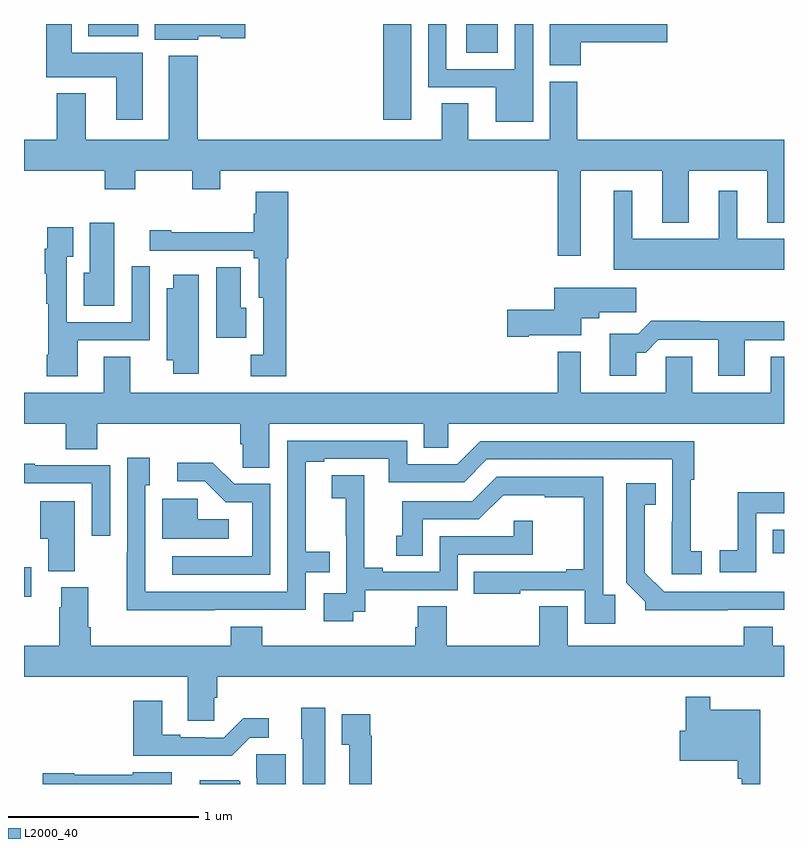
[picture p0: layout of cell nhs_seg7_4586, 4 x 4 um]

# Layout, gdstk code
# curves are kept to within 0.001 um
import gdstk
lib = gdstk.Library(unit=1e-6, precision=1e-09)
def R(c, l, rs):  # rectangles x0, y0, x1, y1
    for r in rs: c.add(gdstk.rectangle(r[:2], r[2:], *l))
def P(c, l, *ps):  # polygons
    for p in ps: c.add(gdstk.Polygon(p, *l))
L2000_40 = (2000, 40)

nhs_seg7_4586 = lib.new_cell('nhs_seg7_4586')
R(nhs_seg7_4586, L2000_40, [(399,1052.985,399.037,1053.141), (402.94,1053.215,403,1053.337), (400.892,1055.496,401.038,1056), (401.327,1055.848,401.494,1056), (399.338,1055.936,399.601,1056)])
P(nhs_seg7_4586, L2000_40, [(401.93,1055.903),(402.385,1055.903),(402.385,1056),(401.768,1056),(401.768,1055.782),(401.93,1055.782)],
  [(399.918,1055.936),(400.035,1055.936),(400.035,1055.924),(400.165,1055.924),(400.165,1056),(399.689,1056),(399.689,1055.918),(399.918,1055.918)],
  [(401.679,1056),(401.583,1056),(401.583,1055.763),(401.223,1055.763),(401.223,1056),(401.127,1056),(401.127,1055.667),(401.483,1055.667),(401.483,1055.486),(401.679,1055.486)],
  [(399.625,1055.848),(399.25,1055.848),(399.25,1056),(399.116,1056),(399.116,1055.72),(399.485,1055.72),(399.485,1055.496),(399.625,1055.496)],
  [(399.914,1055.833),(399.761,1055.833),(399.761,1055.392),(399.325,1055.392),(399.325,1055.635),(399.173,1055.635),(399.173,1055.392),(399,1055.392),(399,1055.228),(399.425,1055.228),(399.425,1055.129),(399.585,1055.129),(399.585,1055.228),(399.886,1055.228),(399.886,1055.129),(400.033,1055.129),(400.033,1055.228),(401.808,1055.228),(401.808,1054.779),(401.929,1054.779),(401.929,1055.228),(402.359,1055.228),(402.359,1054.955),(402.499,1054.955),(402.499,1055.228),(402.911,1055.228),(402.911,1054.955),(403,1054.955),(403,1055.392),(401.912,1055.392),(401.912,1055.697),(401.768,1055.697),(401.768,1055.392),(401.338,1055.392),(401.338,1055.582),(401.198,1055.582),(401.198,1055.392),(399.914,1055.392)],
  [(403,1054.87),(402.754,1054.87),(402.754,1055.122),(402.656,1055.122),(402.656,1054.87),(402.202,1054.87),(402.202,1055.122),(402.104,1055.122),(402.104,1054.706),(403,1054.706)],
  [(400.381,1054.767),(400.391,1054.767),(400.391,1055.116),(400.22,1055.116),(400.22,1055.001),(400.208,1055.001),(400.208,1054.905),(399.775,1054.905),(399.775,1054.915),(399.663,1054.915),(399.663,1054.806),(400.208,1054.806),(400.208,1054.767),(400.235,1054.767),(400.235,1054.56),(400.259,1054.56),(400.259,1054.258),(400.194,1054.258),(400.194,1054.145),(400.381,1054.145)],
  [(399.475,1054.954),(399.347,1054.954),(399.347,1054.69),(399.314,1054.69),(399.314,1054.516),(399.475,1054.516)],
  [(399.283,1054.335),(399.663,1054.335),(399.663,1054.725),(399.567,1054.725),(399.567,1054.431),(399.225,1054.431),(399.225,1054.774),(399.259,1054.774),(399.259,1054.93),(399.122,1054.93),(399.122,1054.817),(399.109,1054.817),(399.109,1054.685),(399.117,1054.685),(399.117,1054.528),(399.128,1054.528),(399.128,1054.258),(399.121,1054.258),(399.121,1054.146),(399.283,1054.146)],
  [(400.171,1054.506),(400.141,1054.506),(400.141,1054.721),(400.013,1054.721),(400.013,1054.35),(400.171,1054.35)],
  [(399.919,1054.681),(399.785,1054.681),(399.785,1054.609),(399.752,1054.609),(399.752,1054.229),(399.785,1054.229),(399.785,1054.158),(399.919,1054.158)],
  [(401.656,1054.361),(401.932,1054.361),(401.932,1054.451),(402.028,1054.451),(402.028,1054.483),(402.223,1054.483),(402.223,1054.612),(401.792,1054.612),(401.792,1054.496),(401.544,1054.496),(401.544,1054.354),(401.656,1054.354)],
  [(402.223,1054.271),(402.272,1054.271),(402.339,1054.338),(402.653,1054.338),(402.653,1054.149),(402.793,1054.149),(402.793,1054.335),(403,1054.335),(403,1054.436),(402.557,1054.436),(402.557,1054.439),(402.302,1054.439),(402.232,1054.369),(402.083,1054.369),(402.083,1054.149),(402.223,1054.149)],
  [(400.291,1053.896),(401.105,1053.896),(401.105,1053.769),(401.232,1053.769),(401.232,1053.896),(403,1053.896),(403,1054.25),(402.929,1054.25),(402.929,1054.06),(402.517,1054.06),(402.517,1054.25),(402.378,1054.25),(402.378,1054.06),(401.929,1054.06),(401.929,1054.276),(401.808,1054.276),(401.808,1054.06),(399.559,1054.06),(399.559,1054.25),(399.419,1054.25),(399.419,1054.06),(399,1054.06),(399,1053.896),(399.221,1053.896),(399.221,1053.763),(399.386,1053.763),(399.386,1053.896),(400.139,1053.896),(400.139,1053.787),(400.152,1053.787),(400.152,1053.664),(400.291,1053.664)],
  [(400.004,1052.916),(400.482,1052.916),(400.482,1053.114),(400.61,1053.114),(400.61,1053.223),(400.483,1053.223),(400.483,1053.696),(400.579,1053.696),(400.579,1053.711),(400.92,1053.711),(400.92,1053.588),(401.316,1053.588),(401.436,1053.708),(402.411,1053.708),(402.41,1053.105),(402.568,1053.105),(402.568,1053.225),(402.51,1053.225),(402.51,1053.601),(402.527,1053.601),(402.527,1053.804),(401.4,1053.804),(401.28,1053.684),(401.016,1053.684),(401.016,1053.807),(400.386,1053.807),(400.386,1053.012),(399.639,1053.012),(399.639,1053.573),(399.661,1053.573),(399.661,1053.718),(399.543,1053.718),(399.542,1052.915)],
  [(400.296,1053.579),(400.107,1053.579),(399.994,1053.692),(399.807,1053.692),(399.807,1053.594),(399.951,1053.594),(400.062,1053.483),(400.2,1053.483),(400.2,1053.198),(399.78,1053.198),(399.78,1053.102),(400.296,1053.102)],
  [(399.453,1053.678),(399.057,1053.678),(399.057,1053.685),(399,1053.685),(399,1053.582),(399.357,1053.582),(399.357,1053.306),(399.453,1053.306)],
  [(400.734,1052.907),(400.796,1052.907),(400.796,1053.021),(401.283,1053.021),(401.283,1053.207),(401.678,1053.207),(401.678,1053.385),(401.577,1053.385),(401.577,1053.303),(401.187,1053.303),(401.187,1053.117),(400.888,1053.117),(400.888,1053.137),(400.792,1053.137),(400.792,1053.515),(400.79,1053.515),(400.79,1053.626),(400.62,1053.626),(400.62,1053.505),(400.694,1053.505),(400.694,1053.307),(400.695,1053.307),(400.695,1053.003),(400.578,1053.003),(400.578,1052.856),(400.734,1052.856)],
  [(402.113,1052.995),(402.048,1052.995),(402.048,1053.618),(401.487,1053.618),(401.358,1053.489),(400.991,1053.489),(400.991,1053.306),(400.958,1053.306),(400.958,1053.202),(401.098,1053.202),(401.098,1053.393),(401.394,1053.393),(401.522,1053.521),(401.741,1053.521),(401.741,1053.51),(401.947,1053.51),(401.947,1053.13),(401.855,1053.13),(401.855,1053.117),(401.368,1053.117),(401.368,1053.002),(401.611,1053.002),(401.611,1053.021),(401.952,1053.021),(401.952,1052.844),(402.113,1052.844)],
  [(402.704,1052.916),(403,1052.916),(403,1053.012),(402.369,1053.012),(402.268,1053.113),(402.268,1053.47),(402.326,1053.47),(402.326,1053.583),(402.171,1053.583),(402.171,1053.058),(402.27,1052.959),(402.27,1052.915)],
  [(402.855,1053.426),(403,1053.426),(403,1053.535),(402.757,1053.535),(402.757,1053.23),(402.663,1053.23),(402.663,1053.114),(402.855,1053.114)],
  [(400.078,1053.394),(399.915,1053.394),(399.915,1053.501),(399.728,1053.501),(399.728,1053.29),(400.078,1053.29)],
  [(399.268,1053.487),(399.086,1053.487),(399.086,1053.29),(399.128,1053.29),(399.128,1053.121),(399.268,1053.121)],
  [(400.002,1052.454),(400.016,1052.454),(400.016,1052.564),(403,1052.564),(403,1052.728),(402.94,1052.728),(402.94,1052.827),(402.788,1052.827),(402.788,1052.728),(401.863,1052.728),(401.863,1052.936),(401.711,1052.936),(401.711,1052.728),(401.225,1052.728),(401.225,1052.936),(401.072,1052.936),(401.072,1052.826),(401.06,1052.826),(401.06,1052.728),(400.253,1052.728),(400.253,1052.827),(400.088,1052.827),(400.088,1052.728),(399.35,1052.728),(399.35,1052.824),(399.337,1052.824),(399.337,1053.036),(399.197,1053.036),(399.197,1052.93),(399.185,1052.93),(399.185,1052.728),(399,1052.728),(399,1052.564),(399.863,1052.564),(399.863,1052.332),(400.002,1052.332)],
  [(402.874,1052.392),(402.613,1052.392),(402.613,1052.458),(402.484,1052.458),(402.484,1052.281),(402.45,1052.281),(402.45,1052.123),(402.757,1052.123),(402.757,1052.027),(402.777,1052.027),(402.777,1052),(402.874,1052)],
  [(400.188,1052.244),(400.288,1052.244),(400.288,1052.347),(400.153,1052.347),(400.05,1052.244),(399.95,1052.244),(399.95,1052.247),(399.823,1052.247),(399.823,1052.26),(399.727,1052.26),(399.727,1052.437),(399.575,1052.437),(399.575,1052.15),(400.093,1052.15)],
  [(400.585,1052.401),(400.46,1052.401),(400.46,1052.238),(400.466,1052.238),(400.466,1052),(400.585,1052)],
  [(400.829,1052.255),(400.822,1052.255),(400.822,1052.368),(400.673,1052.368),(400.673,1052.207),(400.713,1052.207),(400.713,1052),(400.829,1052)],
  [(400.378,1052.157),(400.222,1052.157),(400.222,1052.034),(400.226,1052.034),(400.226,1052),(400.378,1052)],
  [(399.778,1052.062),(399.572,1052.062),(399.572,1052.048),(399.264,1052.048),(399.264,1052.056),(399.098,1052.056),(399.098,1052),(399.778,1052)],
  [(400.138,1052.012),(400.13,1052.02),(399.926,1052.02),(399.926,1052),(400.138,1052)])

lib.write_gds('nhs_seg7_4586.gds')
